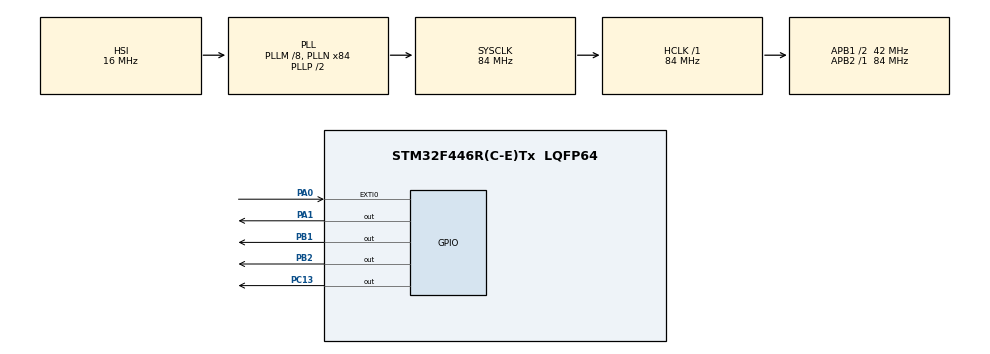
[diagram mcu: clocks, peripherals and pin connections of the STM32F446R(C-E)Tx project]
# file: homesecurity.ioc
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FREERTOS.Tasks01=SensorTask,40,128,StartSensorTask,Default,NULL,Dynamic,NULL,NULL;AlarmTask,48,128,StartAlarmTask,Default,NULL,Dynamic,NULL,NULL;LEDTask,8,128,StartLEDTask,Default,NULL,Dynamic,NULL,NULL
Mcu.Family=STM32F4
Mcu.Name=STM32F446R(C-E)Tx
Mcu.Package=LQFP64
NVIC.EXTI0_IRQn=true\:5\:0\:false\:false\:true\:true\:true\:true\:true
NVIC.PriorityGroup=NVIC_PRIORITYGROUP_4
PA0-WKUP.Signal=GPXTI0
PA1.PinState=GPIO_PIN_SET
PA1.Signal=GPIO_Output
PB1.Signal=GPIO_Output
PB2.Signal=GPIO_Output
PC13.GPIO_PuPd=GPIO_PULLUP
PC13.Signal=GPIO_Output
ProjectManager.HeapSize=0x200
ProjectManager.StackSize=0x400
ProjectManager.TargetToolchain=STM32CubeIDE
RCC.AHBFreq_Value=84000000
RCC.APB1CLKDivider=RCC_HCLK_DIV2
RCC.APB1Freq_Value=42000000
RCC.APB1TimFreq_Value=84000000
RCC.APB2Freq_Value=84000000
RCC.APB2TimFreq_Value=84000000
RCC.CortexFreq_Value=84000000
RCC.HCLKFreq_Value=84000000
RCC.PLLM=8
RCC.PLLN=84
RCC.SYSCLKFreq_VALUE=84000000
RCC.SYSCLKSource=RCC_SYSCLKSOURCE_PLLCLK
RCC.USBFreq_Value=84000000
RCC.VCOOutputFreq_Value=168000000
VP_FREERTOS_VS_CMSIS_V2.Mode=CMSIS_V2
board=custom

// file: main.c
/* USER CODE BEGIN Header */
/**
  ******************************************************************************
  * @file           : main.c
  * @brief          : Main program body
  ******************************************************************************
  * @attention
  *
  * Copyright (c) 2026 STMicroelectronics.
  * All rights reserved.
  *
  * This software is licensed under terms that can be found in the LICENSE file
  * in the root directory of this software component.
  * If no LICENSE file comes with this software, it is provided AS-IS.
  *
  ******************************************************************************
  */
/* USER CODE END Header */
#include "main.h"
#include "cmsis_os.h"

/* USER CODE BEGIN Includes */
#include <stdio.h>
/* USER CODE END Includes */

/* Definitions for SensorTask */
osThreadId_t SensorTaskHandle;
const osThreadAttr_t SensorTask_attributes = {
  .name = "SensorTask",
  .stack_size = 128 * 4,
  .priority = (osPriority_t) osPriorityHigh,
};
/* Definitions for AlarmTask */
osThreadId_t AlarmTaskHandle;
const osThreadAttr_t AlarmTask_attributes = {
  .name = "AlarmTask",
  .stack_size = 128 * 4,
  .priority = (osPriority_t) osPriorityRealtime,
};
/* Definitions for LEDTask */
osThreadId_t LEDTaskHandle;
const osThreadAttr_t LEDTask_attributes = {
  .name = "LEDTask",
  .stack_size = 128 * 4,
  .priority = (osPriority_t) osPriorityLow,
};
/* USER CODE BEGIN PV */
volatile uint8_t intrusion_detected = 0;
volatile uint8_t system_armed = 1;
/* USER CODE END PV */

void SystemClock_Config(void);
static void MX_GPIO_Init(void);
void StartSensorTask(void *argument);
void StartAlarmTask(void *argument);
void StartLEDTask(void *argument);

/* USER CODE BEGIN 0 */
int _write(int file, char *ptr, int len)
{
    for (int i = 0; i < len; i++)
    {
        ITM_SendChar((*ptr++)); // Sends character to SWV console
    }
    return len;
}
/* USER CODE END 0 */

int main(void)
{

  /* MCU Configuration--------------------------------------------------------*/

  /* Reset of all peripherals, Initializes the Flash interface and the Systick. */
  HAL_Init();

  /* Configure the system clock */
  SystemClock_Config();

  /* Initialize all configured peripherals */
  MX_GPIO_Init();

  /* Init scheduler */
  osKernelInitialize();

  /* Create the thread(s) */
  /* creation of SensorTask */
  SensorTaskHandle = osThreadNew(StartSensorTask, NULL, &SensorTask_attributes);

  /* creation of AlarmTask */
  AlarmTaskHandle = osThreadNew(StartAlarmTask, NULL, &AlarmTask_attributes);

  /* creation of LEDTask */
  LEDTaskHandle = osThreadNew(StartLEDTask, NULL, &LEDTask_attributes);

  /* Start scheduler */
  osKernelStart();

  /* We should never get here as control is now taken by the scheduler */

  /* Infinite loop */
  while (1)
  {

  }
}

void SystemClock_Config(void)
{
  RCC_OscInitTypeDef RCC_OscInitStruct = {0};
  RCC_ClkInitTypeDef RCC_ClkInitStruct = {0};

  /** Configure the main internal regulator output voltage
  */
  __HAL_RCC_PWR_CLK_ENABLE();
  __HAL_PWR_VOLTAGESCALING_CONFIG(PWR_REGULATOR_VOLTAGE_SCALE3);

  /** Initializes the RCC Oscillators according to the specified parameters
  * in the RCC_OscInitTypeDef structure.
  */
  RCC_OscInitStruct.OscillatorType = RCC_OSCILLATORTYPE_HSI;
  RCC_OscInitStruct.HSIState = RCC_HSI_ON;
  RCC_OscInitStruct.HSICalibrationValue = RCC_HSICALIBRATION_DEFAULT;
  RCC_OscInitStruct.PLL.PLLState = RCC_PLL_ON;
  RCC_OscInitStruct.PLL.PLLSource = RCC_PLLSOURCE_HSI;
  RCC_OscInitStruct.PLL.PLLM = 8;
  RCC_OscInitStruct.PLL.PLLN = 84;
  RCC_OscInitStruct.PLL.PLLP = RCC_PLLP_DIV2;
  RCC_OscInitStruct.PLL.PLLQ = 2;
  RCC_OscInitStruct.PLL.PLLR = 2;
  if (HAL_RCC_OscConfig(&RCC_OscInitStruct) != HAL_OK)
  {
    Error_Handler();
  }

  /** Initializes the CPU, AHB and APB buses clocks
  */
  RCC_ClkInitStruct.ClockType = RCC_CLOCKTYPE_HCLK|RCC_CLOCKTYPE_SYSCLK
                              |RCC_CLOCKTYPE_PCLK1|RCC_CLOCKTYPE_PCLK2;
  RCC_ClkInitStruct.SYSCLKSource = RCC_SYSCLKSOURCE_PLLCLK;
  RCC_ClkInitStruct.AHBCLKDivider = RCC_SYSCLK_DIV1;
  RCC_ClkInitStruct.APB1CLKDivider = RCC_HCLK_DIV2;
  RCC_ClkInitStruct.APB2CLKDivider = RCC_HCLK_DIV1;

  if (HAL_RCC_ClockConfig(&RCC_ClkInitStruct, FLASH_LATENCY_2) != HAL_OK)
  {
    Error_Handler();
  }
}

static void MX_GPIO_Init(void)
{
  GPIO_InitTypeDef GPIO_InitStruct = {0};

  /* GPIO Ports Clock Enable */
  __HAL_RCC_GPIOC_CLK_ENABLE();
  __HAL_RCC_GPIOA_CLK_ENABLE();
  __HAL_RCC_GPIOB_CLK_ENABLE();

  /*Configure GPIO pin Output Level */
  HAL_GPIO_WritePin(GPIOC, GPIO_PIN_13, GPIO_PIN_RESET);

  /*Configure GPIO pin Output Level */
  HAL_GPIO_WritePin(GPIOA, GPIO_PIN_1, GPIO_PIN_SET);

  /*Configure GPIO pin Output Level */
  HAL_GPIO_WritePin(GPIOB, GPIO_PIN_1|GPIO_PIN_2, GPIO_PIN_RESET);

  /*Configure GPIO pin : PC13 */
  GPIO_InitStruct.Pin = GPIO_PIN_13;
  GPIO_InitStruct.Mode = GPIO_MODE_INPUT; // <-- FIX THIS: Must be INPUT
  GPIO_InitStruct.Pull = GPIO_PULLUP;
  HAL_GPIO_Init(GPIOC, &GPIO_InitStruct);

  /*Configure GPIO pin : PA0 */
  GPIO_InitStruct.Pin = GPIO_PIN_0;
  GPIO_InitStruct.Mode = GPIO_MODE_IT_RISING;
  GPIO_InitStruct.Pull = GPIO_NOPULL;
  HAL_GPIO_Init(GPIOA, &GPIO_InitStruct);

  /*Configure GPIO pin : PA1 */
  GPIO_InitStruct.Pin = GPIO_PIN_1;
  GPIO_InitStruct.Mode = GPIO_MODE_OUTPUT_PP;
  GPIO_InitStruct.Pull = GPIO_NOPULL;
  GPIO_InitStruct.Speed = GPIO_SPEED_FREQ_LOW;
  HAL_GPIO_Init(GPIOA, &GPIO_InitStruct);

  /*Configure GPIO pins : PB1 PB2 */
  GPIO_InitStruct.Pin = GPIO_PIN_1|GPIO_PIN_2;
  GPIO_InitStruct.Mode = GPIO_MODE_OUTPUT_PP;
  GPIO_InitStruct.Pull = GPIO_NOPULL;
  GPIO_InitStruct.Speed = GPIO_SPEED_FREQ_LOW;
  HAL_GPIO_Init(GPIOB, &GPIO_InitStruct);

  /* EXTI interrupt init*/
  HAL_NVIC_SetPriority(EXTI0_IRQn, 5, 0);
  HAL_NVIC_EnableIRQ(EXTI0_IRQn);

}

/* USER CODE BEGIN 4 */
void HAL_GPIO_EXTI_Callback(uint16_t GPIO_Pin)
{
    if(GPIO_Pin == GPIO_PIN_0) // PA0 IR Sensor triggered
    {
        // Only trigger and print if armed AND alarm isn't already ringing
        if(system_armed && (intrusion_detected == 0))
        {
            intrusion_detected = 1;
            printf("\n*** INTRUDER ALERT! Motion Detected! ***\n");
        }
    }
}
/* USER CODE END 4 */

void StartSensorTask(void *argument)
{
  /* USER CODE BEGIN 5 */
  /* Infinite loop */
  for(;;)
  {
          if(HAL_GPIO_ReadPin(GPIOC, GPIO_PIN_13) == GPIO_PIN_RESET)
          {
              if(intrusion_detected == 1)
              {
                  intrusion_detected = 0;
                  system_armed = 1;
                  printf("Button Pressed: Alarm Reset. System Armed.\n");
              }
              else
              {
                  system_armed = !system_armed;
                  if(system_armed)
                  {
                      printf("Button Pressed: System ARMED.\n");
                  }
                  else
                  {
                      printf("Button Pressed: System DISARMED.\n");
                  }
              }

              osDelay(300); // Debounce delay
          }

          osDelay(50);
      }
  /* USER CODE END 5 */
}

void StartAlarmTask(void *argument)
{
  /* USER CODE BEGIN StartAlarmTask */
  /* Infinite loop */
  for(;;)
  {
            if(intrusion_detected)
            {
                // Red LED ON continuously
                HAL_GPIO_WritePin(GPIOB, GPIO_PIN_2, GPIO_PIN_SET);

                // Buzzer ON continuously (Active-Low: RESET turns it ON)
                HAL_GPIO_WritePin(GPIOA, GPIO_PIN_1, GPIO_PIN_RESET);
            }
            else
            {
                // Keep them off when safe
                HAL_GPIO_WritePin(GPIOB, GPIO_PIN_2, GPIO_PIN_RESET);
                HAL_GPIO_WritePin(GPIOA, GPIO_PIN_1, GPIO_PIN_SET);
            }

            osDelay(50);
        }
  /* USER CODE END StartAlarmTask */
}

void StartLEDTask(void *argument)
{
  /* USER CODE BEGIN StartLEDTask */
  /* Infinite loop */
  for(;;)
  {
          // Green LED ON only if armed AND no motion detected
          if(system_armed && (intrusion_detected == 0))
          {
              HAL_GPIO_WritePin(GPIOB, GPIO_PIN_1, GPIO_PIN_SET);
          }
          else
          {
              // Turn Green LED OFF during alarm, or if system is completely disarmed
              HAL_GPIO_WritePin(GPIOB, GPIO_PIN_1, GPIO_PIN_RESET);
          }

          osDelay(50); // Yield to scheduler
      }
  /* USER CODE END StartLEDTask */
}

void Error_Handler(void)
{
  __disable_irq();
  while (1)
  {
  }
}
